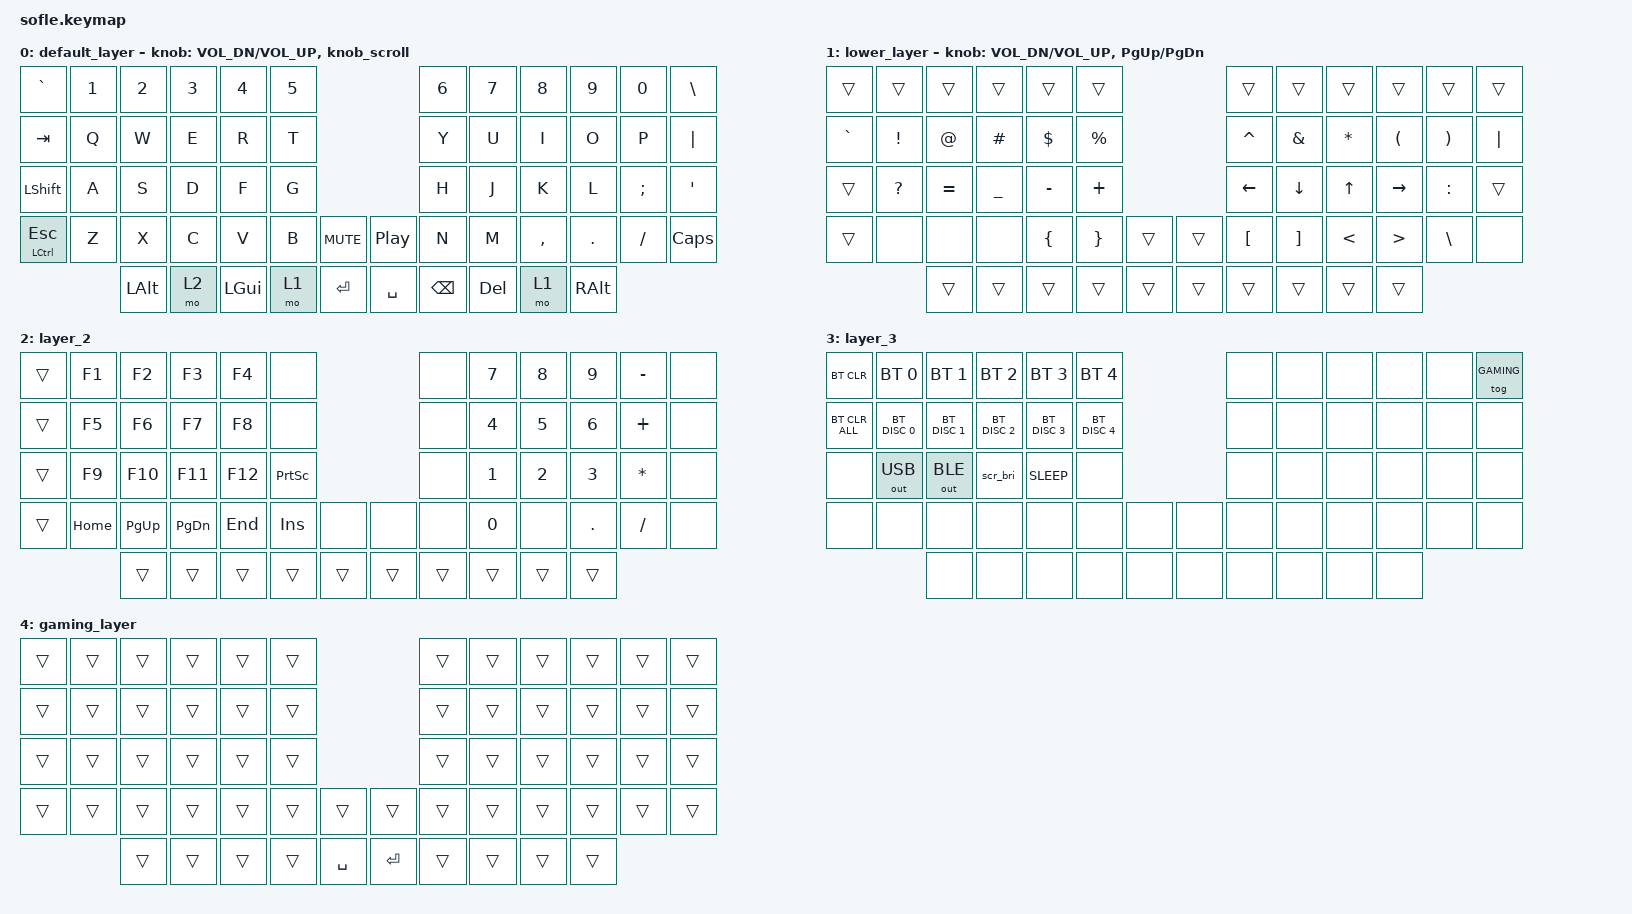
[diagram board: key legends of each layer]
/*
 * Copyright (c) 2020 The ZMK Contributors
 *
 * SPDX-License-Identifier: MIT
 */

#include <behaviors.dtsi>
#include <dt-bindings/zmk/bt.h>
#include <dt-bindings/zmk/keys.h>
#include <dt-bindings/zmk/outputs.h>

// Wake-up key: top outer corner (` / \), row pin 5, column pin 19 on both halves.
#define TKL_WAKE_ROW 5
#define TKL_WAKE_COL 19
// Switch-off: ` + Ctrl/Esc held together.
#define TKL_OFF_KEYS 0 36
#include "tkl_power.dtsi"
#include "tkl_brightness.dtsi"

#define BASE 0
#define LOWER 1
#define RAISE 2
#define ADJUST 3
#define GAMING 4

/ {
    behaviors {
        // Right knob: one mouse-wheel step per notch (wheel_step). On our Sofles the first
        // sensor binding fires on a physical counter-clockwise turn (tested 2026-10-24),
        // so every knob binding below lists counter-clockwise first: clockwise = volume up,
        // scroll down, page down.
        wheel_step: wheel_step {
            compatible = "zmk,behavior-wheel-step";
            #binding-cells = <1>;
        };

        knob_scroll: knob_scroll {
            compatible = "zmk,behavior-sensor-rotate";
            #sensor-binding-cells = <0>;
            bindings = <&wheel_step 1>, <&wheel_step (-1)>;
        };
    };

    wheel_step_input_listener {
        compatible = "zmk,input-listener";
        device = <&wheel_step>;
    };

    // Activate ADJUST layer by pressing raise and lower

    conditional_layers {
        compatible = "zmk,conditional-layers";

        adjust_layer {
            if-layers = <1 2>;
            then-layer = <3>;
        };
    };

    keymap {
        compatible = "zmk,keymap";

        default_layer {
            // ------------------------------------------------------------------------------------------------------------
            // |    `     |  1  |  2  |  3   |  4   |  5   |                   |  6   |  7    |  8    |  9   |   0   |   \   |
            // |   TAB    |  Q  |  W  |  E   |  R   |  T   |                   |  Y   |  U    |  I    |  O   |   P   |   |   |
            // |  SHIFT   |  A  |  S  |  D   |  F   |  G   |                   |  H   |  J    |  K    |  L   |   ;   |   '   |
            // | CTRL/ESC |  Z  |  X  |  C   |  V   |  B   |  MUTE  | |  PLAY  |  N   |  M    |  ,    |  .   |   /   | CAPS  |
            //                  | ALT | L2   | GUI  | L1   |  ENTER | | SPACE  | BKSPC| DEL   | L1    | ALT  |

            bindings = <
&kp GRAVE         &kp N1  &kp N2        &kp N3  &kp N4        &kp N5                             &kp N6         &kp N7      &kp N8     &kp N9         &kp N0    &kp BACKSLASH
&kp TAB           &kp Q   &kp W         &kp E   &kp R         &kp T                              &kp Y          &kp U       &kp I      &kp O          &kp P     &kp PIPE
&kp LEFT_SHIFT    &kp A   &kp S         &kp D   &kp F         &kp G                              &kp H          &kp J       &kp K      &kp L          &kp SEMI  &kp SQT
&mt LCTRL ESCAPE  &kp Z   &kp X         &kp C   &kp V         &kp B   &kp C_MUTE    &kp C_PP     &kp N          &kp M       &kp COMMA  &kp DOT        &kp FSLH  &kp CAPS
                          &kp LEFT_ALT  &mo 2   &kp LEFT_GUI  &mo 1   &kp RET       &kp SPACE    &kp BACKSPACE  &kp DELETE  &mo 1      &kp RIGHT_ALT
            >;

            sensor-bindings =
                <&inc_dec_kp C_VOL_DN C_VOL_UP>,
                <&knob_scroll>;
        };

        lower_layer {
            // ------------------------------------------------------------------------------------------------------------
            // |       |     |     |      |      |      |                   |      |       |       |      |       |       |
            // |   `   |  !  |  @  |  #   |  $   |  %   |                   |  ^   |  &    |  *    |  (   |   )   |   |   |
            // |       |  ?  |  =  |  _   |  -   |  +   |                   | LEFT | DOWN  |  UP   | RIGHT|   :   |       |
            // |       |     |     |      |  {   |  }   |        |  |       |  [   |  ]    |  <    |  >   |   \   |       |
            //               |     |      |      |      |        |  |       |      |       |       |      |

            bindings = <
&trans     &trans           &trans       &trans     &trans      &trans                         &trans          &trans          &trans         &trans                &trans                 &trans
&kp GRAVE  &kp EXCLAMATION  &kp AT_SIGN  &kp HASH   &kp DOLLAR  &kp PERCENT                    &kp CARET       &kp AMPERSAND   &kp ASTERISK   &kp LEFT_PARENTHESIS  &kp RIGHT_PARENTHESIS  &kp PIPE
&trans     &kp QUESTION     &kp EQUAL    &kp UNDER  &kp MINUS   &kp PLUS                       &kp LEFT_ARROW  &kp DOWN_ARROW  &kp UP_ARROW   &kp RIGHT_ARROW       &kp COLON              &trans
&trans     &none            &none        &none      &kp LBRC    &kp RBRC     &trans    &trans  &kp LBKT        &kp RBKT        &kp LESS_THAN  &kp GREATER_THAN      &kp BSLH               &none
                            &trans       &trans     &trans      &trans       &trans    &trans  &trans          &trans          &trans         &trans
            >;

            sensor-bindings = <&inc_dec_kp C_VOL_DN C_VOL_UP &inc_dec_kp PG_UP PG_DN>;
        };

        layer_2 {
            bindings = <
&trans  &kp F1    &kp F2       &kp F3         &kp F4   &none                              &none   &kp NUMBER_7  &kp NUMBER_8  &kp NUMBER_9  &kp MINUS     &none
&trans  &kp F5    &kp F6       &kp F7         &kp F8   &none                              &none   &kp NUMBER_4  &kp NUMBER_5  &kp NUMBER_6  &kp PLUS      &none
&trans  &kp F9    &kp F10      &kp F11        &kp F12  &kp PRINTSCREEN                    &none   &kp NUMBER_1  &kp NUMBER_2  &kp NUMBER_3  &kp ASTERISK  &none
&trans  &kp HOME  &kp PAGE_UP  &kp PAGE_DOWN  &kp END  &kp INS          &none     &none   &none   &kp NUMBER_0  &none         &kp DOT       &kp SLASH     &none
                 &trans       &trans         &trans   &trans           &trans    &trans  &trans  &trans        &trans        &trans
            >;
        };

        layer_3 {
            bindings = <
&bt BT_CLR      &bt BT_SEL 0   &bt BT_SEL 1   &bt BT_SEL 2   &bt BT_SEL 3   &bt BT_SEL 4           &none  &none  &none  &none  &none  &tog GAMING
&bt BT_CLR_ALL  &bt BT_DISC 0  &bt BT_DISC 1  &bt BT_DISC 2  &bt BT_DISC 3  &bt BT_DISC 4                 &none  &none  &none  &none  &none  &none
&none           &out OUT_USB   &out OUT_BLE   &scr_bri       &kp K_SLEEP    &none                  &none  &none  &none  &none  &none  &none
&none           &none          &none          &none          &none          &none  &none    &none  &none  &none  &none  &none  &none  &none
                               &none          &none          &none          &none  &none    &none  &none  &none  &none  &none
            >;
        };

        gaming_layer {
        
            bindings = <
        &trans  &trans  &trans  &trans  &trans  &trans                          &trans  &trans  &trans  &trans  &trans  &trans
        &trans  &trans  &trans  &trans  &trans  &trans                          &trans  &trans  &trans  &trans  &trans  &trans
        &trans  &trans  &trans  &trans  &trans  &trans                          &trans  &trans  &trans  &trans  &trans  &trans
        &trans  &trans  &trans  &trans  &trans  &trans  &trans          &trans  &trans  &trans  &trans  &trans  &trans  &trans
                        &trans  &trans  &trans  &trans  &kp SPACE     &kp RET   &trans  &trans  &trans  &trans
            >;
        };

        extra1 {
            status = "reserved";
        };

        extra2 {
            status = "reserved";
        };

        extra3 {
            status = "reserved";
        };
    };
};
